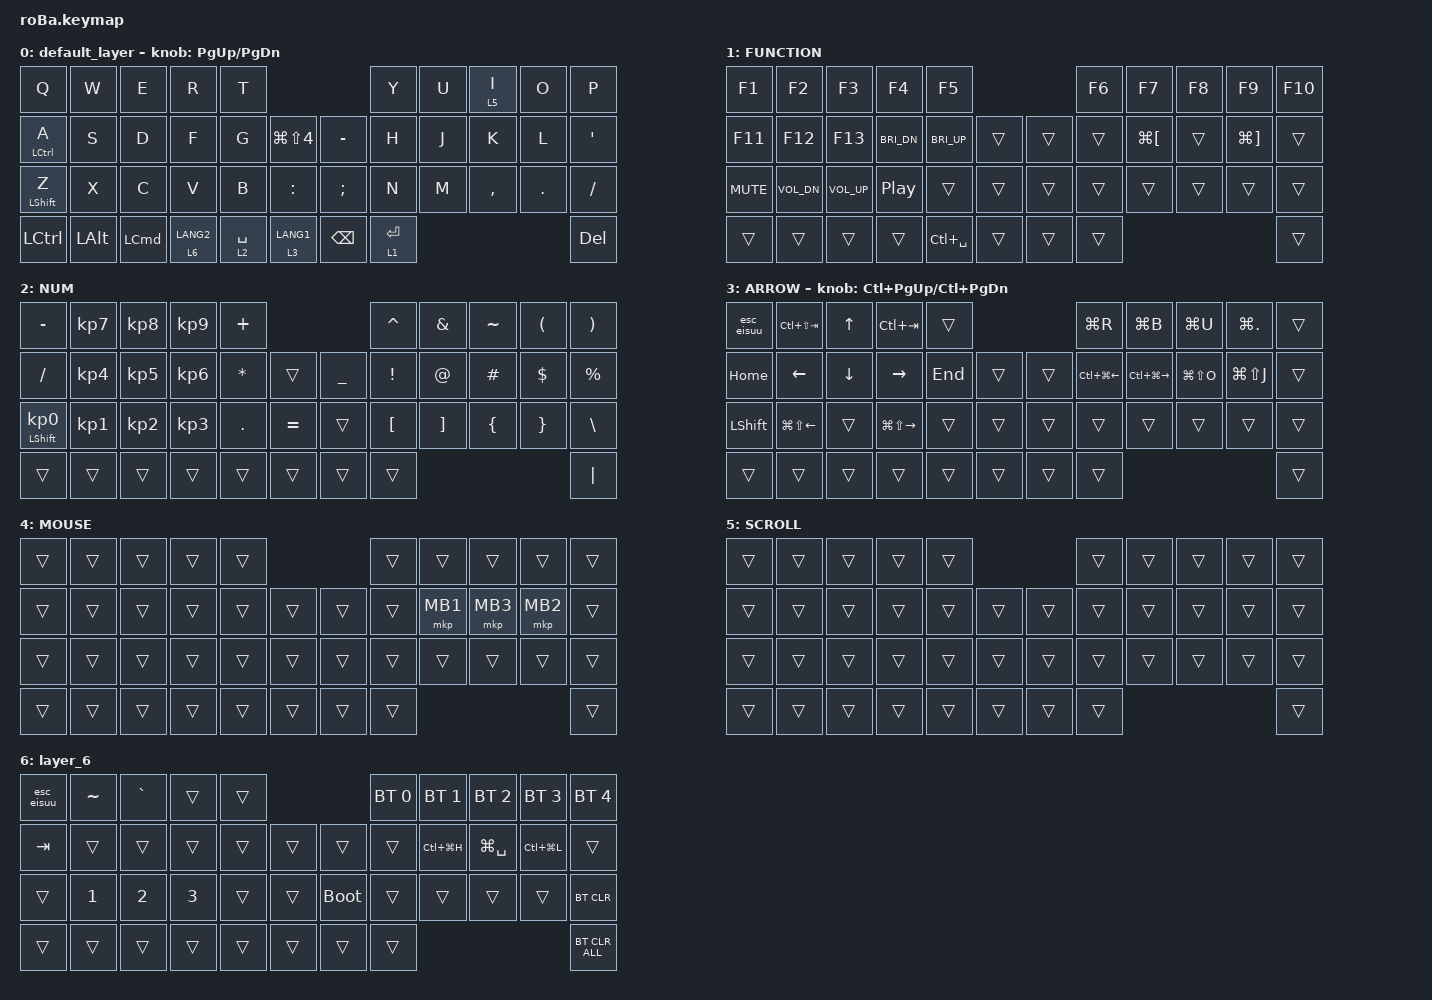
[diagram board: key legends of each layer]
#include <behaviors.dtsi>
#include <dt-bindings/zmk/bt.h>
#include <dt-bindings/zmk/keys.h>
#include <dt-bindings/zmk/pointing.h>

&mt {
    flavor = "balanced";
    quick-tap-ms = <0>;
};

&trackball {
    automouse-layer = <4>;
    scroll-layers = <5>;

    // arrows {
    //     layers = <3>;
    //     bindings =
    //         <&kp RIGHT_ARROW>,
    //         <&kp LEFT_ARROW>,
    //         <&kp UP_ARROW>,
    //         <&kp DOWN_ARROW>;

    //     tick = <10>;
    //     wait-ms = <5>;
    //     tap-ms = <5>;
    // };
};

/ {
    combos {
        compatible = "zmk,combos";

        tab {
            bindings = <&kp TAB>;
            key-positions = <11 12>;
        };

        shift_tab {
            bindings = <&kp LS(TAB)>;
            key-positions = <12 13>;
        };

        eisuu {
            bindings = <&to_layer_0 LANG2>;
            key-positions = <11 10>;
        };

        esc {
            bindings = <&esc_eisuu>;
            key-positions = <0 1>;
        };

        double_quotation {
            bindings = <&kp DOUBLE_QUOTES>;
            key-positions = <20 21>;
        };

        eq {
            bindings = <&kp EQUAL>;
            key-positions = <24 25>;
        };
    };

    macros {
        to_layer_0: to_layer_0 {
            compatible = "zmk,behavior-macro-one-param";
            #binding-cells = <1>;
            bindings = <&to 0 &macro_param_1to1 &kp MACRO_PLACEHOLDER>;
            label = "TO_LAYER_0";
        };

        // Escと同時に英数も送信し、vimのノーマルモード復帰時にIMEを確実にOFFにする
        esc_eisuu: esc_eisuu {
            compatible = "zmk,behavior-macro";
            #binding-cells = <0>;
            bindings = <&kp ESCAPE &kp LANG2>;
            label = "ESC_EISUU";
        };
    };

    behaviors {
        lt_to_layer_0: lt_to_layer_0 {
            compatible = "zmk,behavior-hold-tap";
            label = "LAYER_TAP_TO_0";
            bindings = <&mo>, <&to_layer_0>;

            #binding-cells = <2>;
            tapping-term-ms = <200>;
        };

        // ホームロウCtrl(A用)。反対側(右手)のキーと同時のときだけホールド判定にして誤発動を防ぐ
        hml: home_row_mod_left {
            compatible = "zmk,behavior-hold-tap";
            label = "HOME_ROW_MOD_LEFT";
            bindings = <&kp>, <&kp>;

            #binding-cells = <2>;
            flavor = "balanced";
            tapping-term-ms = <200>;
            quick-tap-ms = <150>;
            require-prior-idle-ms = <125>;
            hold-trigger-key-positions = <5 6 7 8 9 16 17 18 19 20 21 28 29 30 31 32 33 40 41 42>;
            hold-trigger-on-release;
        };
    };

    keymap {
        compatible = "zmk,keymap";

        default_layer {
            bindings = <
&kp Q             &kp W             &kp E         &kp R                   &kp T                                                    &kp Y        &kp U  &lt 5 I    &kp O    &kp P
&hml LCTRL A      &kp S             &kp D         &kp F                   &kp G        &kp LG(LS(N4))              &kp MINUS      &kp H        &kp J  &kp K      &kp L    &kp SQT
&mt LEFT_SHIFT Z  &kp X             &kp C         &kp V                   &kp B        &kp COLON                   &kp SEMICOLON  &kp N        &kp M  &kp COMMA  &kp DOT  &kp SLASH
&kp LCTRL         &kp LEFT_ALT      &kp LEFT_COMMAND  &lt_to_layer_0 6 LANG2  &lt 2 SPACE  &lt_to_layer_0 3 LANG1      &kp BACKSPACE  &lt 1 ENTER                             &kp DEL
            >;

            sensor-bindings = <&inc_dec_kp PG_UP PAGE_DOWN>;
        };

        FUNCTION {
            bindings = <
&kp F1      &kp F2        &kp F3        &kp F4        &kp F5                                      &kp F6  &kp F7  &kp F8  &kp F9  &kp F10
&kp F11     &kp F12       &kp F13       &kp C_BRI_DN  &kp C_BRI_UP   &trans       &trans  &trans  &kp LG(LBKT)  &trans  &kp LG(RBKT)  &trans
&kp C_MUTE  &kp C_VOL_DN  &kp C_VOL_UP  &kp C_PP      &trans         &trans       &trans  &trans  &trans  &trans  &trans  &trans
&trans      &trans        &trans        &trans        &kp LC(SPACE)  &trans       &trans  &trans                          &trans
            >;
        };

        NUM {
            bindings = <
&kp MINUS                   &kp KP_NUMBER_7  &kp KP_NUMBER_8  &kp KP_NUMBER_9  &kp PLUS                                                   &kp CARET         &kp AMPERSAND      &kp TILDE       &kp LEFT_PARENTHESIS  &kp RIGHT_PARENTHESIS
&kp SLASH                   &kp KP_NUMBER_4  &kp KP_NUMBER_5  &kp KP_NUMBER_6  &kp ASTERISK  &trans                       &kp UNDERSCORE  &kp EXCLAMATION   &kp AT_SIGN        &kp HASH        &kp DOLLAR            &kp PERCENT
&mt LEFT_SHIFT KP_NUMBER_0  &kp KP_NUMBER_1  &kp KP_NUMBER_2  &kp KP_NUMBER_3  &kp PERIOD    &kp EQUAL                    &trans          &kp LEFT_BRACKET  &kp RIGHT_BRACKET  &kp LEFT_BRACE  &kp RIGHT_BRACE       &kp BACKSLASH
&trans                      &trans           &trans           &trans           &trans        &trans                       &trans          &trans                                                                     &kp PIPE
            >;
        };

        ARROW {
            bindings = <
&esc_eisuu      &kp LC(LS(TAB))         &kp UP_ARROW    &kp LC(TAB)              &trans                       &kp LG(R)               &kp LG(B)                &kp LG(U)      &kp LG(DOT)    &trans
&kp HOME        &kp LEFT_ARROW          &kp DOWN_ARROW  &kp RIGHT_ARROW          &kp END  &trans      &trans  &kp LC(LG(LEFT_ARROW))  &kp LC(LG(RIGHT_ARROW))  &kp LG(LS(O))  &kp LG(LS(J))  &trans
&kp LEFT_SHIFT  &kp LG(LS(LEFT_ARROW))  &trans          &kp LG(LS(RIGHT_ARROW))  &trans   &trans      &trans  &trans                  &trans                   &trans         &trans         &trans
&trans          &trans                  &trans          &trans                   &trans   &trans      &trans  &trans                                                                          &trans
            >;

            sensor-bindings = <&inc_dec_kp LC(PAGE_UP) LC(PAGE_DOWN)>;
        };

        MOUSE {
            bindings = <
&trans  &trans  &trans  &trans  &trans                      &trans  &trans    &trans    &trans    &trans
&trans  &trans  &trans  &trans  &trans  &trans      &trans  &trans  &mkp MB1  &mkp MB3  &mkp MB2  &trans
&trans  &trans  &trans  &trans  &trans  &trans      &trans  &trans  &trans    &trans    &trans    &trans
&trans  &trans  &trans  &trans  &trans  &trans      &trans  &trans                                &trans
            >;
        };

        SCROLL {
            bindings = <
&trans  &trans  &trans  &trans  &trans                      &trans  &trans  &trans  &trans  &trans
&trans  &trans  &trans  &trans  &trans  &trans      &trans  &trans  &trans  &trans  &trans  &trans
&trans  &trans  &trans  &trans  &trans  &trans      &trans  &trans  &trans  &trans  &trans  &trans
&trans  &trans  &trans  &trans  &trans  &trans      &trans  &trans                          &trans
            >;
        };

        layer_6 {
            bindings = <
&esc_eisuu  &kp TILDE     &kp GRAVE     &trans        &trans                           &bt BT_SEL 0  &bt BT_SEL 1  &bt BT_SEL 2  &bt BT_SEL 3  &bt BT_SEL 4
&kp TAB     &trans        &trans        &trans        &trans  &trans      &trans       &trans        &kp LC(LG(H))  &kp LG(SPACE)  &kp LC(LG(L))  &trans
&trans  &kp NUMBER_1  &kp NUMBER_2  &kp NUMBER_3  &trans  &trans      &bootloader  &trans        &trans        &trans        &trans        &bt BT_CLR
&trans  &trans        &trans        &trans        &trans  &trans      &trans       &trans                                                  &bt BT_CLR_ALL
            >;
        };
    };
};
